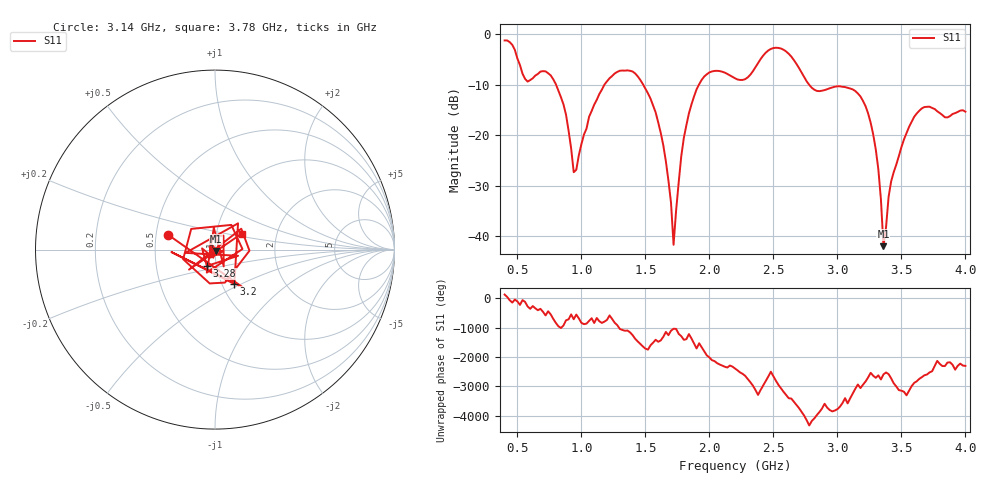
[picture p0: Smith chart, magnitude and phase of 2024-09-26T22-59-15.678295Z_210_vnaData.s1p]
!Created with skrf (http://scikit-rf.org).
# Hz S RI R 50.0
!freq ReS11 ImS11
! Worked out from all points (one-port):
!   181 points, 400 MHz to 4 GHz, reference 50 ohm
!   lowest |S11| = -41.9 dB at 3.36 GHz (marker M1), VSWR 1.02, Z = 50.3 - j0.751 ohm
!   |S11| at or under -10 dB: 802.5 MHz to 1.179 GHz (376.3 MHz wide, 38 % of centre); 1.483 GHz to 1.917 GHz (434 MHz wide, 25.5 % of centre); 2.78 GHz to end of sweep
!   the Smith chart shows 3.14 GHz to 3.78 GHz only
!   S11 on the Smith chart (normalised r, x): 3.14 GHz: 0.58, +0.10; 3.2 GHz: 1.14, -0.46; 3.28 GHz: 0.90, -0.17; 3.78 GHz: 1.32, +0.24
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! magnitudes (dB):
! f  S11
! 400 MHz  -1.2
! 560 MHz  -8.8
! 720 MHz  -7.3
! 860 MHz  -13.9
! 940 MHz  -27.3
! 1.1 GHz  -13.9
! 1.3 GHz  -7.2
! 1.44 GHz  -8.3
! 1.58 GHz  -15.4
! 1.66 GHz  -25.1
! 1.72 GHz  -41.6
! 1.76 GHz  -29.3
! 1.82 GHz  -18.0
! 1.92 GHz  -9.9
! 2.2 GHz  -8.7
! 2.5 GHz  -2.7
! 2.66 GHz  -5.1
! 2.82 GHz  -11.0
! 3.1 GHz  -10.7
! 3.14 GHz  -11.2
! 3.2 GHz  -13.2
! 3.28 GHz  -19.8
! 3.32 GHz  -26.7
! 3.36 GHz  -41.9
! 3.42 GHz  -29.1
! 3.56 GHz  -18.3
! 3.78 GHz  -15.2
! 4 GHz  -15.3
